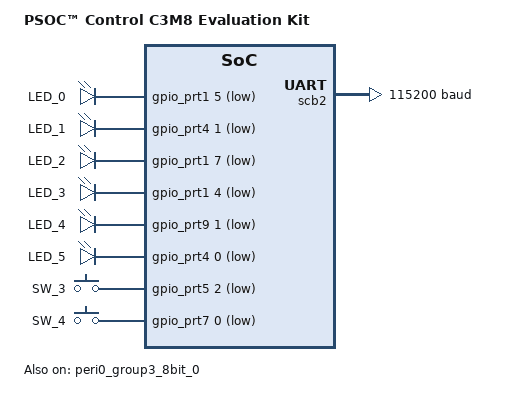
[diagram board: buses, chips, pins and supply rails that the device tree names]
/*
 * SPDX-FileCopyrightText: Copyright (c) 2026 Infineon Technologies AG,
 * SPDX-FileCopyrightText: or an affiliate of Infineon Technologies AG. All rights reserved.
 *
 * SPDX-License-Identifier: Apache-2.0
 */

/*
 * Common devicetree content for the kit_psc3m8_evk board variants.
 */

#include <zephyr/dt-bindings/input/input-event-codes.h>

/ {
	model = "PSOC™ Control C3M8 Evaluation Kit";
	compatible = "infineon,kit_psc3m8_evk", "infineon,PSC3M8";

	aliases {
		led0 = &user_led0;
		led1 = &user_led1;
		led2 = &user_led2;
		led3 = &user_led3;
		led4 = &user_led4;
		led5 = &user_led5;
		sw0 = &user_bt0;
		sw1 = &user_bt1;
	};

	leds {
		compatible = "gpio-leds";

		user_led0: led_0 {
			label = "LED_0";
			gpios = <&gpio_prt1 5 GPIO_ACTIVE_LOW>;
		};

		user_led1: led_1 {
			label = "LED_1";
			gpios = <&gpio_prt4 1 GPIO_ACTIVE_LOW>;
		};

		user_led2: led_2 {
			label = "LED_2";
			gpios = <&gpio_prt1 7 GPIO_ACTIVE_LOW>;
		};

		user_led3: led_3 {
			label = "LED_3";
			gpios = <&gpio_prt1 4 GPIO_ACTIVE_LOW>;
		};

		user_led4: led_4 {
			label = "LED_4";
			gpios = <&gpio_prt9 1 GPIO_ACTIVE_LOW>;
		};

		user_led5: led_5 {
			label = "LED_5";
			gpios = <&gpio_prt4 0 GPIO_ACTIVE_LOW>;
		};
	};

	gpio_keys {
		compatible = "gpio-keys";

		user_bt0: user_btn0 {
			label = "SW_3";
			gpios = <&gpio_prt5 2 (GPIO_PULL_UP | GPIO_ACTIVE_LOW)>;
			zephyr,code = <INPUT_KEY_0>;
		};

		user_bt1: user_btn1 {
			label = "SW_4";
			gpios = <&gpio_prt7 0 (GPIO_PULL_UP | GPIO_ACTIVE_LOW)>;
			zephyr,code = <INPUT_KEY_1>;
		};
	};
};

&gpio_prt0 {
	status = "okay";
};

&gpio_prt1 {
	status = "okay";
};

&gpio_prt3 {
	status = "okay";
};

&gpio_prt4 {
	status = "okay";
};

&gpio_prt5 {
	status = "okay";
};

&gpio_prt6 {
	status = "okay";
};

&gpio_prt7 {
	status = "okay";
};

&gpio_prt9 {
	status = "okay";
};

/* Debug UART — console (SCB2: P3.3 TX, P3.4 RX, P3.2 RTS, P3.1 CTS) */
uart2: &scb2 {
	compatible = "infineon,uart";
	status = "okay";
	current-speed = <115200>;
	clocks = <&peri0_group3_8bit_0>;
	pinctrl-0 = <&p3_3_scb2_uart_tx &p3_4_scb2_uart_rx &p3_2_scb2_uart_rts &p3_1_scb2_uart_cts>;
	pinctrl-names = "default";
};

/* Peripheral clock dividers */
&peri0_group3_8bit_0 {
	status = "okay";
	clock-div = <195>;
};

&clk_hf2 {
	source-path = <IFX_CLK_HF_IN_CLKPATH1>;
	status = "okay";
};
